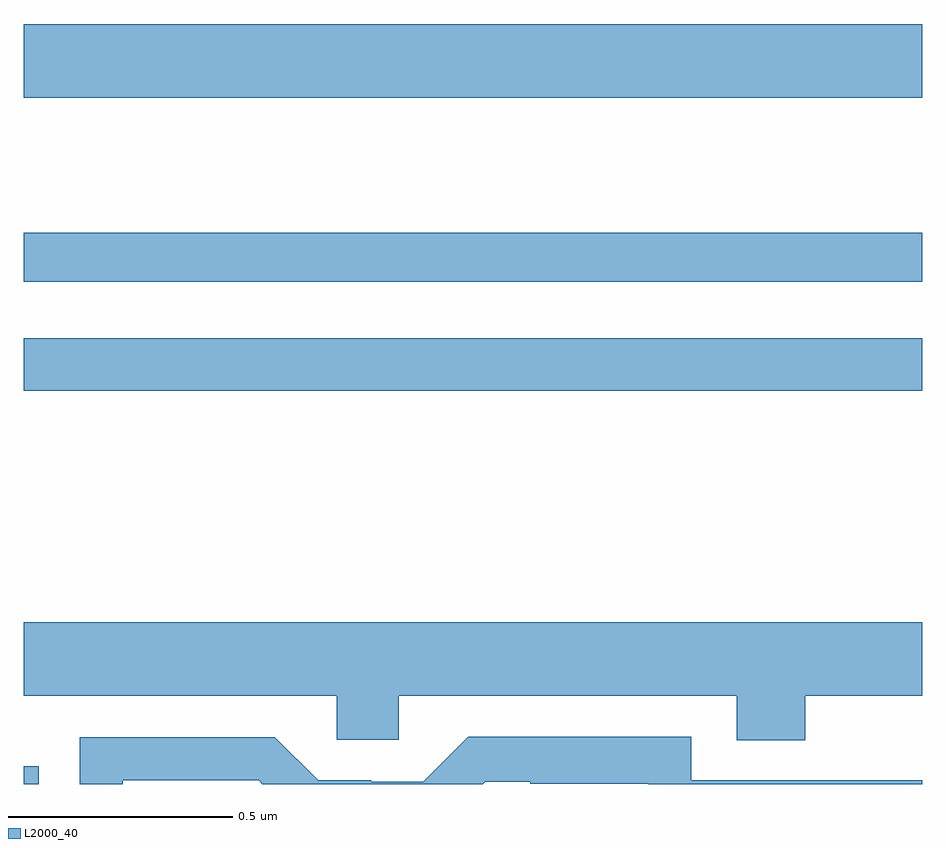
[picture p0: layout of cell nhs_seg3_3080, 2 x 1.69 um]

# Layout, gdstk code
import gdstk
lib = gdstk.Library(unit=1e-6, precision=1e-09)
def R(c, l, rs):  # rectangles x0, y0, x1, y1
    for r in rs: c.add(gdstk.rectangle(r[:2], r[2:], *l))
def P(c, l, *ps):  # polygons
    for p in ps: c.add(gdstk.Polygon(p, *l))
L2000_40 = (2000, 40)

nhs_seg3_3080 = lib.new_cell('nhs_seg3_3080')
R(nhs_seg3_3080, L2000_40, [(149,687.4,149.033,687.439), (149,688.276,151,688.392), (149,688.518,151,688.627), (149,688.928,151,689.092)])
P(nhs_seg3_3080, L2000_40, [(150.74,687.596),(151,687.596),(151,687.76),(149,687.76),(149,687.596),(149.697,687.596),(149.697,687.498),(149.835,687.498),(149.835,687.596),(150.587,687.596),(150.587,687.497),(150.74,687.497)],
  [(149.22,687.408),(149.523,687.408),(149.531,687.4),(150.022,687.4),(150.027,687.405),(150.127,687.405),(150.127,687.401),(150.39,687.401),(150.39,687.4),(151,687.4),(151,687.408),(150.486,687.408),(150.486,687.505),(149.989,687.505),(149.889,687.405),(149.774,687.405),(149.774,687.408),(149.655,687.408),(149.559,687.504),(149.124,687.504),(149.124,687.4),(149.22,687.4)])

lib.write_gds('nhs_seg3_3080.gds')
